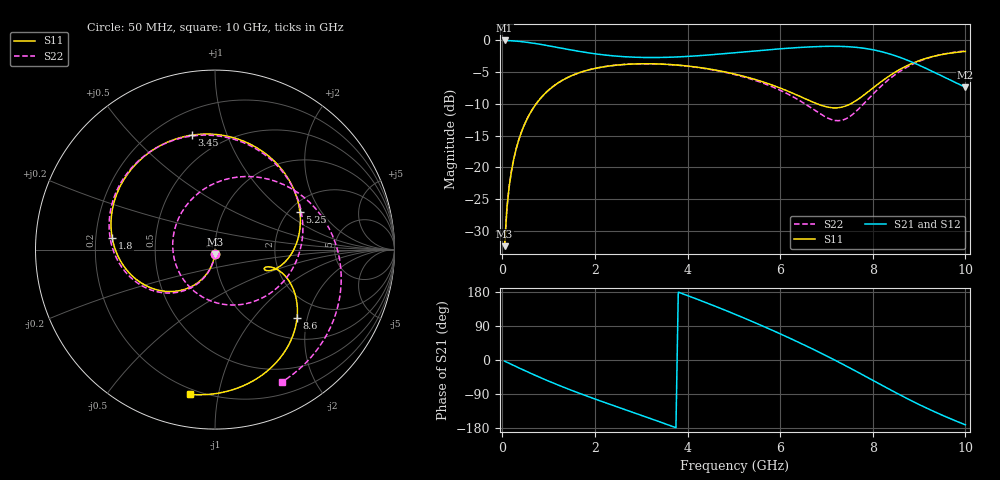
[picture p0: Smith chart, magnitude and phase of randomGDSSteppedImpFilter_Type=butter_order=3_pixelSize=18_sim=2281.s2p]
! freq	dB(S11)	phase(S11)	dB(S12)	phase(S12)
!  dB(S21)	phase(S21)	dB(S22)	phase(S22)
!S-par simulation data
#  GHz  S  DB  R 50
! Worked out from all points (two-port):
!   200 points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, 50 MHz to 10 GHz, reference 50 ohm
!   highest |S21| = -0.01 dB at 50 MHz (marker M1); lowest = -7.4 dB at 10 GHz (marker M2)
!   |S21| within 3 dB of the highest: start of sweep to 8.707 GHz
!   lowest |S11| = -32.4 dB at 50 MHz (marker M3), VSWR 1.05, Z = 49.8 - j2.38 ohm
!   |S11| at or under -10 dB: start of sweep to 732.2 MHz; 6.799 GHz to 7.521 GHz (722 MHz wide, 10.1 % of centre)
!   |S22| runs from -32.4 to -1.7 dB; largest |S21 - S12| = 0
!   S11 on the Smith chart (normalised r, x): 50 MHz: 1.00, -0.05; 1.8 GHz: 0.27, +0.05; 3.45 GHz: 0.34, +0.76; 5.25 GHz: 2.27, +1.30; 8.6 GHz: 1.47, -1.73; 10 GHz: 0.17, -0.83
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0.05  -32.44 -93.1  -0.01 -3.0  -0.01 -3.0  -32.44 -93.0
0.1  -26.45 -96.3  -0.02 -5.9  -0.02 -5.9  -26.45 -96.0
0.2  -20.51 -102.4  -0.06 -11.7  -0.06 -11.7  -20.51 -102.0
0.5  -12.92 -120.0  -0.27 -28.8  -0.27 -28.8  -12.92 -118.8
1.1  -7.24 -152.6  -0.98 -60.8  -0.98 -60.8  -7.24 -150.0
1.75  -4.89 175.7  -1.84 -91.7  -1.84 -91.7  -4.89 179.6
1.8  -4.78 173.4  -1.90 -94.0  -1.90 -94.0  -4.78 177.4
2.55  -3.84 140.1  -2.53 -126.6  -2.53 -126.6  -3.84 145.4
3.4  -3.72 103.6  -2.69 -163.2  -2.69 -163.2  -3.73 109.3
3.45  -3.74 101.4  -2.69 -165.4  -2.69 -165.4  -3.75 107.1
4.25  -4.27 66.7  -2.41 158.4  -2.41 158.4  -4.30 70.3
5.05  -5.36 32.3  -1.93 119.5  -1.93 119.5  -5.44 28.4
5.25  -5.73 23.9  -1.79 109.3  -1.79 109.3  -5.84 16.8
6  -7.51 -4.4  -1.33 69.2  -1.33 69.2  -7.85 -32.3
6.7  -9.71 -21.0  -1.00 29.1  -1.00 29.1  -10.79 -93.6
7.1  -10.60 -21.6  -0.93 4.8  -0.93 4.8  -12.46 -144.0
7.5  -10.08 -17.8  -1.01 -20.6  -1.01 -20.6  -12.02 154.2
7.95  -7.81 -19.9  -1.40 -50.2  -1.40 -50.2  -8.88 93.8
8.35  -5.63 -30.5  -2.10 -76.6  -2.10 -76.6  -6.14 52.6
8.6  -4.51 -39.8  -2.71 -92.8  -2.71 -92.8  -4.81 30.5
9.25  -2.62 -67.4  -4.76 -131.9  -4.76 -131.9  -2.66 -18.1
10  -1.74 -99.6  -7.39 -171.1  -7.39 -171.1  -1.66 -63.1
